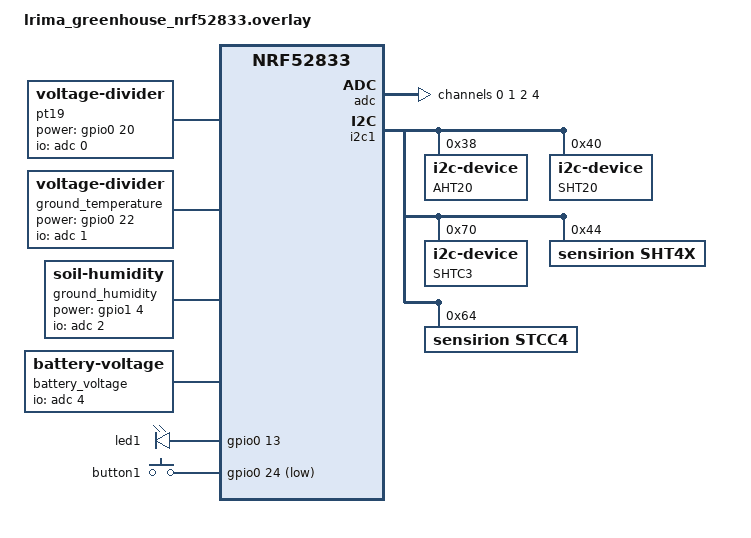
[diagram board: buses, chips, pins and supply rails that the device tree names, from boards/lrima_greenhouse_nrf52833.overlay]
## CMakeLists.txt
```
# SPDX-License-Identifier: Apache-2.0
# Nils Lahaye 2023

cmake_minimum_required(VERSION 3.20.0)

# Required files
list(APPEND BOARD_ROOT ${CMAKE_CURRENT_SOURCE_DIR})

find_package(Zephyr REQUIRED HINTS $ENV{ZEPHYR_BASE})
project(broadcaster)

# Add util source file
SET(UTILS_H
    src/utils.h
    src/payload.h
    src/utils/app_settings.h
    )
SET(UTILS_C
    src/utils.c
    src/payload.c
    src/utils/app_settings.c
    )

# Add drivers source files
SET(DRIVERS_H
    src/drivers/aht20.h
    src/drivers/sht20.h
    src/drivers/sht31.h
    src/drivers/sht4x.h
    src/drivers/stcc4.h
    src/drivers/adc.h
    src/drivers/ble.h
    src/drivers/button.h
    src/drivers/led.h
    )
SET(DRIVERS_C
    src/drivers/aht20.c
    src/drivers/sht20.c
    src/drivers/sht31.c
    src/drivers/sht4x.c
    src/drivers/stcc4.c
    src/drivers/adc.c
    src/drivers/ble.c
    src/drivers/button.c
    src/drivers/led.c
    )


# Add sources as target
target_sources(app PRIVATE ${UTILS_H} ${UTILS_C})
target_sources(app PRIVATE ${DRIVERS_H} ${DRIVERS_C})
target_sources(app PRIVATE src/main.c)
```

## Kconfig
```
################################################################################
# Zephyr OS

source "Kconfig.zephyr"

################################################################################

config SENSOR_SLEEP_DURATION_SEC
	int "Sleep duration in seconds between two measurements"
    default 60

config SENSOR_SLEEP_MODIFICATION_ENABLED
    bool "Enable sleep duration modification"
    default y

config SENSOR_SLEEP_DURATION_MAX_SEC
    depends on SENSOR_SLEEP_MODIFICATION_ENABLED=y
	int "Maximum sleep duration in seconds bettwen two measurements"
	default 3600


config BLE_ADV_USE_CODED_PHY
    bool "Use coded PHY for advertising"
    default n
    depends on BT_CTLR_PHY_CODED
    help
        Use coded PHY for advertising. This will increase the range of the
        advertising packets. However, it will not be seen by all devices. 
        Ex : The majority of smartphones do not support coded PHY.

config BLE_ADV_DURATION_SEC
	int "Advertising duration in seconds"
	default 1

config BLE_MIN_ADV_INTERVAL_MS
	int "Minimum advertising interval in milliseconds"
	default 30

config BLE_MAX_ADV_INTERVAL_MS
	int "Maximum advertising interval in milliseconds"
	default 40

config BLE_CONN_TIMEOUT_SEC
    int "Connection timeout in seconds"
    depends on SENSOR_SLEEP_MODIFICATION_ENABLED=y
    default 60
    help
        The connection timeout is the maximum time between two received packets
        before the connection is considered lost.

config BLE_USER_DEFINED_MAC_ADDR
	string "Overrides the device's BT address"
	help
		This address has to be in this format (e.g.: f0:ca:f0:ca:01:d5).

config BLE_GATEWAY_MAC_ADDR
    string "Gateway BT address accepted for downlink updates"
    default ""
    help
        When set, only downlink advertisements from this gateway MAC are accepted.
        Leave empty to accept downlink from any advertiser.

config BLE_USER_DEFINED_NAME
    string "Overrides the device's name"
    help
        This name has to be in this format (e.g.: "LRIMa 1").

config BLE_NODE_ID
	int "Static node identifier used in advertisements"
	default 1
	range 1 255
	help
		Unique 8-bit node identifier flashed into the device and advertised in every uplink packet.

################################################################################
# Main module

menu "Main module"

########################################
# MAIN Logging

choice MAIN_LOG_LEVEL_CHOICE
    prompt "Log level"
    depends on LOG
    default MAIN_LOG_LEVEL_INF
    help
        Message severity threshold for logging. This option controls which
        severities of messages are displayed and which ones are suppressed.
        Messages can have 4 severity levels - debug, info, warning, and error -
        in that order of increasing severity. Messages below the configured
        severity threshold are suppressed.

config MAIN_LOG_LEVEL_OFF
    bool "Off"
    help
        Do not log messages. No messages are displayed. Messages of all severity
        levels are suppressed.

config MAIN_LOG_LEVEL_ERR
    bool "Error"
    help
        Log up to error messages. Error messages are displayed. Warning, info,
        and debug messages are suppressed.

config MAIN_LOG_LEVEL_WRN
    bool "Warning"
    help
        Log up to warning messages. Error and warning messages are displayed.
        Info and debug messages are suppressed.

config MAIN_LOG_LEVEL_INF
    bool "Info"
    help
        Log up to info messages. Error, warning, and info messages are
        displayed. Debug messages are suppressed.

config MAIN_LOG_LEVEL_DBG
    bool "Debug"
    help
        Log up to debug messages. Messages of all severity levels are displayed.
        No messages are suppressed.

endchoice

config MAIN_LOG_LEVEL
    int
    depends on LOG
    default 0 if MAIN_LOG_LEVEL_OFF
    default 1 if MAIN_LOG_LEVEL_ERR
    default 2 if MAIN_LOG_LEVEL_WRN
    default 3 if MAIN_LOG_LEVEL_INF
    default 4 if MAIN_LOG_LEVEL_DBG

endmenu

################################################################################

# APP_SETTINGS module

menu "APP_SETTINGS module"

########################################
# APP_SETTINGS Logging

choice APP_SETTINGS_LOG_LEVEL_CHOICE
    prompt "Log level"
    depends on LOG
    default APP_SETTINGS_LOG_LEVEL_INF
    help
        Message severity threshold for logging.

config APP_SETTINGS_LOG_LEVEL_OFF
    bool "Off"

config APP_SETTINGS_LOG_LEVEL_ERR
    bool "Error"

config APP_SETTINGS_LOG_LEVEL_WRN
    bool "Warning"

config APP_SETTINGS_LOG_LEVEL_INF
    bool "Info"

config APP_SETTINGS_LOG_LEVEL_DBG
    bool "Debug"

endchoice

config APP_SETTINGS_LOG_LEVEL
    int
    depends on LOG
    default 0 if APP_SETTINGS_LOG_LEVEL_OFF
    default 1 if APP_SETTINGS_LOG_LEVEL_ERR
    default 2 if APP_SETTINGS_LOG_LEVEL_WRN
    default 3 if APP_SETTINGS_LOG_LEVEL_INF
    default 4 if APP_SETTINGS_LOG_LEVEL_DBG

endmenu

################################################################################

# SHT4X module

menu "SHT4X module"

########################################
# SHT4X Logging

choice SHT4X_LOG_LEVEL_CHOICE
    prompt "Log level"
    depends on LOG
    default SHT4X_LOG_LEVEL_INF
    help
        Message severity threshold for logging.

config SHT4X_LOG_LEVEL_OFF
    bool "Off"

config SHT4X_LOG_LEVEL_ERR
    bool "Error"

config SHT4X_LOG_LEVEL_WRN
    bool "Warning"

config SHT4X_LOG_LEVEL_INF
    bool "Info"

config SHT4X_LOG_LEVEL_DBG
    bool "Debug"

endchoice

config SHT4X_LOG_LEVEL
    int
    depends on LOG
    default 0 if SHT4X_LOG_LEVEL_OFF
    default 1 if SHT4X_LOG_LEVEL_ERR
    default 2 if SHT4X_LOG_LEVEL_WRN
    default 3 if SHT4X_LOG_LEVEL_INF
    default 4 if SHT4X_LOG_LEVEL_DBG

endmenu

################################################################################

# STCC4 module

menu "STCC4 module"

########################################
# STCC4 Logging

choice STCC4_LOG_LEVEL_CHOICE
    prompt "Log level"
    depends on LOG
    default STCC4_LOG_LEVEL_INF
    help
        Message severity threshold for logging.

config STCC4_LOG_LEVEL_OFF
    bool "Off"

config STCC4_LOG_LEVEL_ERR
    bool "Error"

config STCC4_LOG_LEVEL_WRN
    bool "Warning"

config STCC4_LOG_LEVEL_INF
    bool "Info"

config STCC4_LOG_LEVEL_DBG
    bool "Debug"

endchoice

config STCC4_LOG_LEVEL
    int
    depends on LOG
    default 0 if STCC4_LOG_LEVEL_OFF
    default 1 if STCC4_LOG_LEVEL_ERR
    default 2 if STCC4_LOG_LEVEL_WRN
    default 3 if STCC4_LOG_LEVEL_INF
    default 4 if STCC4_LOG_LEVEL_DBG

endmenu

################################################################################
# AHT20 module

menu "AHT20 module"

########################################
# AHT20 Logging

choice AHT20_LOG_LEVEL_CHOICE
    prompt "Log level"
    depends on LOG
    default AHT20_LOG_LEVEL_INF
    help
        Message severity threshold for logging. This option controls which
        severities of messages are displayed and which ones are suppressed.
        Messages can have 4 severity levels - debug, info, warning, and error -
        in that order of increasing severity. Messages below the configured
        severity threshold are suppressed.

config AHT20_LOG_LEVEL_OFF
    bool "Off"
    help
        Do not log messages. No messages are displayed. Messages of all severity
        levels are suppressed.

config AHT20_LOG_LEVEL_ERR
    bool "Error"
    help
        Log up to error messages. Error messages are displayed. Warning, info,
        and debug messages are suppressed.

config AHT20_LOG_LEVEL_WRN
    bool "Warning"
    help
        Log up to warning messages. Error and warning messages are displayed.
        Info and debug messages are suppressed.

config AHT20_LOG_LEVEL_INF
    bool "Info"
    help
        Log up to info messages. Error, warning, and info messages are
        displayed. Debug messages are suppressed.

config AHT20_LOG_LEVEL_DBG
    bool "Debug"
    help
        Log up to debug messages. Messages of all severity levels are displayed.
        No messages are suppressed.

endchoice

config AHT20_LOG_LEVEL
    int
    depends on LOG
    default 0 if AHT20_LOG_LEVEL_OFF
    default 1 if AHT20_LOG_LEVEL_ERR
    default 2 if AHT20_LOG_LEVEL_WRN
    default 3 if AHT20_LOG_LEVEL_INF
    default 4 if AHT20_LOG_LEVEL_DBG

endmenu

################################################################################
# ADC module

menu "ADC module"

########################################
# ADC Logging

choice ADC_LOG_LEVEL_CHOICE
    prompt "Log level"
    depends on LOG
    default ADC_LOG_LEVEL_INF
    help
        Message severity threshold for logging. This option controls which
        severities of messages are displayed and which ones are suppressed.
        Messages can have 4 severity levels - debug, info, warning, and error -
        in that order of increasing severity. Messages below the configured
        severity threshold are suppressed.

config ADC_LOG_LEVEL_OFF
    bool "Off"
    help
        Do not log messages. No messages are displayed. Messages of all severity
        levels are suppressed.

config ADC_LOG_LEVEL_ERR
    bool "Error"
    help
        Log up to error messages. Error messages are displayed. Warning, info,
        and debug messages are suppressed.

config ADC_LOG_LEVEL_WRN
    bool "Warning"
    help
        Log up to warning messages. Error and warning messages are displayed.
        Info and debug messages are suppressed.

config ADC_LOG_LEVEL_INF
    bool "Info"
    help
        Log up to info messages. Error, warning, and info messages are
        displayed. Debug messages are suppressed.

config ADC_LOG_LEVEL_DBG
    bool "Debug"
    help
        Log up to debug messages. Messages of all severity levels are displayed.
        No messages are suppressed.

endchoice

config ADC_LOG_LEVEL
    int
    depends on LOG
    default 0 if ADC_LOG_LEVEL_OFF
    default 1 if ADC_LOG_LEVEL_ERR
    default 2 if ADC_LOG_LEVEL_WRN
    default 3 if ADC_LOG_LEVEL_INF
    default 4 if ADC_LOG_LEVEL_DBG

endmenu

################################################################################
# BLE_DRIVER module

menu "BLE_DRIVER module"

########################################
# BLE_DRIVER Logging

choice BLE_DRIVER_LOG_LEVEL_CHOICE
    prompt "Log level"
    depends on LOG
    default BLE_DRIVER_LOG_LEVEL_INF
    help
        Message severity threshold for logging. This option controls which
        severities of messages are displayed and which ones are suppressed.
        Messages can have 4 severity levels - debug, info, warning, and error -
        in that order of increasing severity. Messages below the configured
        severity threshold are suppressed.

config BLE_DRIVER_LOG_LEVEL_OFF
    bool "Off"
    help
        Do not log messages. No messages are displayed. Messages of all severity
        levels are suppressed.

config BLE_DRIVER_LOG_LEVEL_ERR
    bool "Error"
    help
        Log up to error messages. Error messages are displayed. Warning, info,
        and debug messages are suppressed.

config BLE_DRIVER_LOG_LEVEL_WRN
    bool "Warning"
    help
        Log up to warning messages. Error and warning messages are displayed.
        Info and debug messages are suppressed.

config BLE_DRIVER_LOG_LEVEL_INF
    bool "Info"
    help
        Log up to info messages. Error, warning, and info messages are
        displayed. Debug messages are suppressed.

config BLE_DRIVER_LOG_LEVEL_DBG
    bool "Debug"
    help
        Log up to debug messages. Messages of all severity levels are displayed.
        No messages are suppressed.

endchoice

config BLE_DRIVER_LOG_LEVEL
    int
    depends on LOG
    default 0 if BLE_DRIVER_LOG_LEVEL_OFF
    default 1 if BLE_DRIVER_LOG_LEVEL_ERR
    default 2 if BLE_DRIVER_LOG_LEVEL_WRN
    default 3 if BLE_DRIVER_LOG_LEVEL_INF
    default 4 if BLE_DRIVER_LOG_LEVEL_DBG

endmenu

################################################################################
# Button module

menu "BUTTON module"

########################################
# BUTTON Logging

choice BUTTON_LOG_LEVEL_CHOICE
    prompt "Log level"
    depends on LOG
    default BUTTON_LOG_LEVEL_INF
    help
        Message severity threshold for logging. This option controls which
        severities of messages are displayed and which ones are suppressed.
        Messages can have 4 severity levels - debug, info, warning, and error -
        in that order of increasing severity. Messages below the configured
        severity threshold are suppressed.

config BUTTON_LOG_LEVEL_OFF
    bool "Off"
    help
        Do not log messages. No messages are displayed. Messages of all severity
        levels are suppressed.

config BUTTON_LOG_LEVEL_ERR
    bool "Error"
    help
        Log up to error messages. Error messages are displayed. Warning, info,
        and debug messages are suppressed.

config BUTTON_LOG_LEVEL_WRN
    bool "Warning"
    help
        Log up to warning messages. Error and warning messages are displayed.
        Info and debug messages are suppressed.

config BUTTON_LOG_LEVEL_INF
    bool "Info"
    help
        Log up to info messages. Error, warning, and info messages are
        displayed. Debug messages are suppressed.

config BUTTON_LOG_LEVEL_DBG
    bool "Debug"
    help
        Log up to debug messages. Messages of all severity levels are displayed.
        No messages are suppressed.

endchoice

config BUTTON_LOG_LEVEL
    int
    depends on LOG
    default 0 if BUTTON_LOG_LEVEL_OFF
    default 1 if BUTTON_LOG_LEVEL_ERR
    default 2 if BUTTON_LOG_LEVEL_WRN
    default 3 if BUTTON_LOG_LEVEL_INF
    default 4 if BUTTON_LOG_LEVEL_DBG

endmenu

################################################################################
# Led module

menu "LED module"

########################################
# LED Logging

choice LED_LOG_LEVEL_CHOICE
    prompt "Log level"
    depends on LOG
    default LED_LOG_LEVEL_INF
    help
        Message severity threshold for logging. This option controls which
        severities of messages are displayed and which ones are suppressed.
        Messages can have 4 severity levels - debug, info, warning, and error -
        in that order of increasing severity. Messages below the configured
        severity threshold are suppressed.

config LED_LOG_LEVEL_OFF
    bool "Off"
    help
        Do not log messages. No messages are displayed. Messages of all severity
        levels are suppressed.

config LED_LOG_LEVEL_ERR
    bool "Error"
    help
        Log up to error messages. Error messages are displayed. Warning, info,
        and debug messages are suppressed.

config LED_LOG_LEVEL_WRN
    bool "Warning"
    help
        Log up to warning messages. Error and warning messages are displayed.
        Info and debug messages are suppressed.

config LED_LOG_LEVEL_INF
    bool "Info"
    help
        Log up to info messages. Error, warning, and info messages are
        displayed. Debug messages are suppressed.

config LED_LOG_LEVEL_DBG
    bool "Debug"
    help
        Log up to debug messages. Messages of all severity levels are displayed.
        No messages are suppressed.

endchoice

config LED_LOG_LEVEL
    int
    depends on LOG
    default 0 if LED_LOG_LEVEL_OFF
    default 1 if LED_LOG_LEVEL_ERR
    default 2 if LED_LOG_LEVEL_WRN
    default 3 if LED_LOG_LEVEL_INF
    default 4 if LED_LOG_LEVEL_DBG

endmenu

################################################################################
# sht31 module

menu "SHT31 module"

########################################
# SHT31 Logging

choice SHT31_LOG_LEVEL_CHOICE
    prompt "Log level"
    depends on LOG
    default SHT31_LOG_LEVEL_INF
    help
        Message severity threshold for logging. This option controls which
        severities of messages are displayed and which ones are suppressed.
        Messages can have 4 severity levels - debug, info, warning, and error -
        in that order of increasing severity. Messages below the configured
        severity threshold are suppressed.

config SHT31_LOG_LEVEL_OFF
    bool "Off"
    help
        Do not log messages. No messages are displayed. Messages of all severity
        levels are suppressed.

config SHT31_LOG_LEVEL_ERR
    bool "Error"
    help
        Log up to error messages. Error messages are displayed. Warning, info,
        and debug messages are suppressed.

config SHT31_LOG_LEVEL_WRN
    bool "Warning"
    help
        Log up to warning messages. Error and warning messages are displayed.
        Info and debug messages are suppressed.

config SHT31_LOG_LEVEL_INF
    bool "Info"
    help
        Log up to info messages. Error, warning, and info messages are
        displayed. Debug messages are suppressed.

config SHT31_LOG_LEVEL_DBG
    bool "Debug"
    help
        Log up to debug messages. Messages of all severity levels are displayed.
        No messages are suppressed.

endchoice

config SHT31_LOG_LEVEL
    int
    depends on LOG
    default 0 if SHT31_LOG_LEVEL_OFF
    default 1 if SHT31_LOG_LEVEL_ERR
    default 2 if SHT31_LOG_LEVEL_WRN
    default 3 if SHT31_LOG_LEVEL_INF
    default 4 if SHT31_LOG_LEVEL_DBG

endmenu

################################################################################
# sht20 module

menu "SHT20 module"

########################################
# SHT20 Logging

choice SHT20_LOG_LEVEL_CHOICE
    prompt "Log level"
    depends on LOG
    default SHT20_LOG_LEVEL_INF
    help
        Message severity threshold for logging. This option controls which
        severities of messages are displayed and which ones are suppressed.
        Messages can have 4 severity levels - debug, info, warning, and error -
        in that order of increasing severity. Messages below the configured
        severity threshold are suppressed.

config SHT20_LOG_LEVEL_OFF
    bool "Off"
    help
        Do not log messages. No messages are displayed. Messages of all severity
        levels are suppressed.

config SHT20_LOG_LEVEL_ERR
    bool "Error"
    help
        Log up to error messages. Error messages are displayed. Warning, info,
        and debug messages are suppressed.

config SHT20_LOG_LEVEL_WRN
    bool "Warning"
    help
        Log up to warning messages. Error and warning messages are displayed.
        Info and debug messages are suppressed.

config SHT20_LOG_LEVEL_INF
    bool "Info"
    help
        Log up to info messages. Error, warning, and info messages are
        displayed. Debug messages are suppressed.

config SHT20_LOG_LEVEL_DBG
    bool "Debug"
    help
        Log up to debug messages. Messages of all severity levels are displayed.
        No messages are suppressed.

endchoice

config SHT20_LOG_LEVEL
    int
    depends on LOG
    default 0 if SHT20_LOG_LEVEL_OFF
    default 1 if SHT20_LOG_LEVEL_ERR
    default 2 if SHT20_LOG_LEVEL_WRN
    default 3 if SHT20_LOG_LEVEL_INF
    default 4 if SHT20_LOG_LEVEL_DBG

endmenu

################################################################################
```

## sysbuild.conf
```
#==============================================================================
# Sysbuild Configuration
#==============================================================================
# Application-level sysbuild settings go here.
#
# MCUboot board-specific configuration is stored in:
#   sysbuild/mcuboot/boards/<board>/mcuboot.conf
#
# This separation prevents configuration bleed between the MCUboot
# bootloader image and the application image.

# Currently, all sysbuild defaults are provided by the nRF SDK.
# Add overrides below if sysbuild-level (multi-image) configuration is needed.
```

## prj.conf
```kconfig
#==============================================================================
# Build & Development Configuration
#==============================================================================
CONFIG_WARN_EXPERIMENTAL=y

#==============================================================================
# Basic Subsystem Configuration
#==============================================================================
CONFIG_PINCTRL=y
CONFIG_GPIO=y
CONFIG_ADC=y
CONFIG_ADC_ASYNC=y
CONFIG_I2C=y
CONFIG_SENSOR=y
CONFIG_FLASH=y
CONFIG_FLASH_MAP=y
CONFIG_NVS=y
CONFIG_SETTINGS=y
CONFIG_SETTINGS_NVS=y

#==============================================================================
# Custom Configurations
#==============================================================================
# These settings are user-defined and can be adjusted for each device.

# Sensor and BLE Advertising Settings
CONFIG_SENSOR_SLEEP_DURATION_SEC=60
CONFIG_BLE_ADV_USE_CODED_PHY=n
CONFIG_BLE_ADV_DURATION_SEC=5
CONFIG_BLE_MIN_ADV_INTERVAL_MS=30
CONFIG_BLE_MAX_ADV_INTERVAL_MS=40
CONFIG_BLE_USER_DEFINED_NAME="LRIMa"
# Change this for each device
CONFIG_BLE_USER_DEFINED_MAC_ADDR="f0:ca:f0:ca:01:34"
# Change this for each device
CONFIG_BLE_NODE_ID=34

# Sensor Sleep Modification
CONFIG_SENSOR_SLEEP_MODIFICATION_ENABLED=y

#==============================================================================
# Logging Configuration
#==============================================================================
CONFIG_LOG=n
CONFIG_CONSOLE=n
CONFIG_USE_SEGGER_RTT=n
CONFIG_RTT_CONSOLE=n

# Default log level for all modules.
CONFIG_LOG_DEFAULT_LEVEL=1
CONFIG_DEBUG_OPTIMIZATIONS=y
CONFIG_BT_LOG_LEVEL_OFF=y

# Logging Backends
CONFIG_MAIN_LOG_LEVEL_INF=y
CONFIG_AHT20_LOG_LEVEL_WRN=n
CONFIG_SHT20_LOG_LEVEL_WRN=n
CONFIG_SHT31_LOG_LEVEL_WRN=n
CONFIG_SHT4X_LOG_LEVEL_WRN=n
CONFIG_STCC4_LOG_LEVEL_DBG=y
CONFIG_ADC_LOG_LEVEL_DBG=n
CONFIG_BLE_DRIVER_LOG_LEVEL_DBG=n
CONFIG_APP_SETTINGS_LOG_LEVEL_DBG=n
CONFIG_BUTTON_LOG_LEVEL_DBG=n
CONFIG_LED_LOG_LEVEL_WRN=n

# Support for log
CONFIG_PICOLIBC=y
CONFIG_CBPRINTF_FP_SUPPORT=y

#==============================================================================
# Bluetooth Configuration
#==============================================================================
CONFIG_BT=y
CONFIG_BT_CTLR_PHY_CODED=n
CONFIG_BT_BROADCASTER=y
CONFIG_BT_OBSERVER=y
CONFIG_BT_GATT_CLIENT=n
CONFIG_BT_GATT_DM=n
CONFIG_BT_GATT_DYNAMIC_DB=n
CONFIG_BT_DEVICE_NAME_DYNAMIC=y

#==============================================================================
# Size Optimization and Multithreading
#==============================================================================
CONFIG_SIZE_OPTIMIZATIONS=y
CONFIG_MULTITHREADING=y
CONFIG_REBOOT=y

#==============================================================================
```

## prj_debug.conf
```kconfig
#==============================================================================
# Debug Configuration for Broadcaster
#==============================================================================
# This configuration enables comprehensive logging, RTT output, and debug symbols
# for ease of development and hardware bring-up.
#
# Build: west build -b lrima_greenhouse_nrf52833 -- -DCONF_FILE="prj_debug.conf"

# Enable logging at DEBUG level
CONFIG_LOG=y
CONFIG_LOG_DEFAULT_LEVEL=1
CONFIG_LOG_PRINTK=y

# Enable console and Segger RTT output (no UART needed)
CONFIG_CONSOLE=y
CONFIG_USE_SEGGER_RTT=y
CONFIG_RTT_CONSOLE=y

# Enable runtime checks and debug-oriented settings
CONFIG_ASSERT=y

# Per-module debug logging
CONFIG_MAIN_LOG_LEVEL_DBG=y
CONFIG_BUTTON_LOG_LEVEL_DBG=n
CONFIG_BLE_DRIVER_LOG_LEVEL_DBG=y
CONFIG_APP_SETTINGS_LOG_LEVEL_DBG=y
CONFIG_AHT20_LOG_LEVEL_DBG=n
CONFIG_SHT20_LOG_LEVEL_DBG=n
CONFIG_SHT31_LOG_LEVEL_DBG=n
CONFIG_SHT4X_LOG_LEVEL_DBG=n
CONFIG_STCC4_LOG_LEVEL_DBG=n
CONFIG_ADC_LOG_LEVEL_DBG=n
CONFIG_LED_LOG_LEVEL_DBG=n

# Bluetooth stack debug logging
CONFIG_BT_LOG_LEVEL_INF=n

# Support for floating point in log output
CONFIG_PICOLIBC=y
CONFIG_CBPRINTF_FP_SUPPORT=y

# Minimal size optimization (prioritize debug info)
CONFIG_SIZE_OPTIMIZATIONS=n
CONFIG_DEBUG_OPTIMIZATIONS=n
```

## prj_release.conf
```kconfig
#==============================================================================
# Release Configuration for Broadcaster
#==============================================================================
# This configuration disables logging and RTT, optimizes for size and power,
# and removes debug symbols for production deployment.
#
# Build: west build -b lrima_greenhouse_nrf52833 -- -DCONF_FILE="prj_release.conf"

# Disable logging
CONFIG_LOG=n
CONFIG_CONSOLE=n
CONFIG_LOG_DEFAULT_LEVEL=1  # ERROR  (minimal overhead)
CONFIG_LOG_PRINTK=n

# Disable RTT to save memory and reduce power consumption
CONFIG_USE_SEGGER_RTT=n
CONFIG_RTT_CONSOLE=n

# Disable debug symbols to reduce binary size
CONFIG_DEBUG_INFO=n
CONFIG_ASSERT=n

# Disable per-module debug logging
CONFIG_MAIN_LOG_LEVEL_INF=n
CONFIG_BUTTON_LOG_LEVEL_DBG=n
CONFIG_BLE_DRIVER_LOG_LEVEL_DBG=n
CONFIG_APP_SETTINGS_LOG_LEVEL_DBG=n
CONFIG_AHT20_LOG_LEVEL_WRN=n
CONFIG_SHT20_LOG_LEVEL_WRN=n
CONFIG_SHT31_LOG_LEVEL_WRN=n
CONFIG_SHT4X_LOG_LEVEL_WRN=n
CONFIG_STCC4_LOG_LEVEL_DBG=n
CONFIG_ADC_LOG_LEVEL_DBG=n
CONFIG_LED_LOG_LEVEL_WRN=n

# Disable Bluetooth stack logging
CONFIG_BT_LOG_LEVEL_OFF=y

# Lightweight C library (no float support in logging, not needed here)
CONFIG_PICOLIBC=y
CONFIG_CBPRINTF_FP_SUPPORT=n

# Aggressive size optimization for deployment
CONFIG_SIZE_OPTIMIZATIONS=y
CONFIG_DEBUG_OPTIMIZATIONS=y
```

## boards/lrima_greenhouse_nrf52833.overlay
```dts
/* Mapping adc pins */
/ {

    pt19: pt19 {
        compatible = "voltage-divider";
        io-channels = <&adc 0>;
        output-ohms = <10000>;
        power-gpios = <&gpio0 20 GPIO_ACTIVE_HIGH>;
    };

    ground_temperature: ground_temperature {
        compatible = "voltage-divider";
        io-channels = <&adc 1>;
        output-ohms = <10000>;
        power-gpios = <&gpio0 22 GPIO_ACTIVE_HIGH>;
    };

    ground_humidity: ground_humidity {
        compatible = "soil-humidity";
        io-channels = <&adc 2>;
        power-gpios = <&gpio1 4 GPIO_ACTIVE_HIGH>;
        //       (a)x^2 + (b)x + (c)
        dry = <(-124) 957 (-90)>;
        //       (a)x^2 + (b)x + (c)
        wet = <(-83) 721 (-481)>;
    };

    battery_voltage: battery_voltage {
        compatible = "battery-voltage";
        io-channels = <&adc 4>;
    };

    /* Used for the real board */
    leds{
        compatible = "gpio-leds";
        led1: led1 {
            label = "led1";
            gpios = <&gpio0 13 GPIO_ACTIVE_HIGH>;
        };
    };

    buttons {
        compatible = "gpio-keys";
        button1: button1 {
            label = "button1";
            gpios = <&gpio0 24 (GPIO_PULL_UP | GPIO_ACTIVE_LOW)>;
        };

        wakeup-source;
    };

    aliases {
        button1 = &button1;
        led1 = &led1;
    };
};

/* Enable adc driver */
&adc {
    status = "okay";
    #address-cells = <1>;
    #size-cells = <0>;
    // Luminoisty sensor
    channel@0 {
        reg = <0>;
        zephyr,gain = "ADC_GAIN_1_4";
        zephyr,reference = "ADC_REF_INTERNAL";
        zephyr,acquisition-time = <ADC_ACQ_TIME_DEFAULT>;
        zephyr,input-positive = <NRF_SAADC_AIN0>; // P0.02
        zephyr,resolution = <10>;
        zephyr,oversampling = <4>;
    };

    // Ground temperature sensor
    channel@1 {
        reg = <1>;
        zephyr,gain = "ADC_GAIN_1_5";
        zephyr,reference = "ADC_REF_INTERNAL";
        zephyr,acquisition-time = <ADC_ACQ_TIME_DEFAULT>;
        zephyr,input-positive = <NRF_SAADC_AIN1>; // P0.03
        zephyr,resolution = <10>;
        zephyr,oversampling = <4>;
    };

    // Ground humidity sensor
    channel@2 {
        reg = <2>;
        zephyr,gain = "ADC_GAIN_1_6";
        zephyr,reference = "ADC_REF_VDD_1_4";
        zephyr,acquisition-time = <ADC_ACQ_TIME_DEFAULT>;
        zephyr,input-positive = <NRF_SAADC_AIN2>; // P0.04
        zephyr,resolution = <12>;
        zephyr,oversampling = <4>;
    };

    // Batterie voltage monitor
    channel@4 {
        reg = <4>;
        zephyr,gain = "ADC_GAIN_1_6";
        zephyr,reference = "ADC_REF_INTERNAL";
        zephyr,acquisition-time = <ADC_ACQ_TIME_DEFAULT>;
        zephyr,input-positive = <NRF_SAADC_VDD>; // VDD
        zephyr,resolution = <10>;
        zephyr,oversampling = <0>;
    };
};

/* Enable i2c driver */
&i2c1 {
    status = "okay";

    aht20: aht20@38 {
        compatible = "i2c-device";
        reg = <0x38>;
        label = "AHT20";
    };

    sht20: sht20@40 {
        compatible = "i2c-device";
        reg = <0x40>;
        label = "SHT20";
    };

    shtc3: shtc3@70 {
        compatible = "i2c-device";
        reg = <0x70>;
        label = "SHTC3";
    };

    sht4x: sht4x@44 {
        compatible = "sensirion,sht4x";
        reg = <0x44>;
        repeatability = <2>;
        label = "SHT4X";
    };

    stcc4: stcc4@64 {
        compatible = "sensirion,stcc4";
        reg = <0x64>;
        measurement-mode = <1>;
        label = "STCC4";
    };
};
```

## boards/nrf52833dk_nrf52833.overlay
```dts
/* Mapping adc pins */
/ {

    pt19: pt19 {
        compatible = "voltage-divider";
        io-channels = <&adc 0>;
        output-ohms = <10000>;
        power-gpios = <&gpio0 20 GPIO_ACTIVE_HIGH>;
    };

    ground_temperature: ground_temperature {
        compatible = "voltage-divider";
        io-channels = <&adc 1>;
        output-ohms = <10000>;
        power-gpios = <&gpio0 22 GPIO_ACTIVE_HIGH>;
    };

    ground_humidity: ground_humidity {
        compatible = "soil-humidity";
        io-channels = <&adc 2>;
        power-gpios = <&gpio1 4 GPIO_ACTIVE_HIGH>;
        dry = <800 0 0>;
        wet = <2270 0 0>;
    };

    battery_voltage: battery_voltage {
        compatible = "battery-voltage";
        io-channels = <&adc 4>;
    };

    /* Used for the real board */
    // leds{
        //     compatible = "gpio-leds";
        //     led1: led1 {
            //         label = "led1";
            //         gpios = <&gpio0 13 GPIO_ACTIVE_HIGH>;
        //     };
    // };

    // buttons {
        //     compatible = "gpio-keys";
        //     button1: button1 {
            //         label = "button1";
            //         gpios = <&gpio0 24 GPIO_ACTIVE_LOW>;
        //     };
    // };

    // aliases {
        //     button1 = &button1;
        //     led1 = &led1;
    // };
};

/* Enable adc driver */
&adc {
    status = "okay";
    #address-cells = <1>;
    #size-cells = <0>;
    // Luminoisty sensor
    channel@0 {
        reg = <0>;
        zephyr,gain = "ADC_GAIN_1_4";
        zephyr,reference = "ADC_REF_INTERNAL";
        zephyr,acquisition-time = <ADC_ACQ_TIME_DEFAULT>;
        zephyr,input-positive = <NRF_SAADC_AIN0>; // P0.02
        zephyr,resolution = <10>;
        zephyr,oversampling = <4>;
    };

    // Ground temperature sensor
    channel@1 {
        reg = <1>;
        zephyr,gain = "ADC_GAIN_1_5";
        zephyr,reference = "ADC_REF_INTERNAL";
        zephyr,acquisition-time = <ADC_ACQ_TIME_DEFAULT>;
        zephyr,input-positive = <NRF_SAADC_AIN1>; // P0.03
        zephyr,resolution = <10>;
        zephyr,oversampling = <4>;
    };

    // Ground humidity sensor
    channel@2 {
        reg = <2>;
        zephyr,gain = "ADC_GAIN_1_2";
        zephyr,reference = "ADC_REF_INTERNAL";
        zephyr,acquisition-time = <ADC_ACQ_TIME_DEFAULT>;
        zephyr,input-positive = <NRF_SAADC_AIN2>; // P0.04
        zephyr,resolution = <12>;
        zephyr,oversampling = <4>;
    };

    // Batterie voltage monitor
    channel@4 {
        reg = <4>;
        zephyr,gain = "ADC_GAIN_1_6";
        zephyr,reference = "ADC_REF_INTERNAL";
        zephyr,acquisition-time = <ADC_ACQ_TIME_DEFAULT>;
        zephyr,input-positive = <NRF_SAADC_VDD>; // VDD
        zephyr,resolution = <10>;
        zephyr,oversampling = <0>;
    };
};

/* Enable i2c driver */
&i2c1 {
    status = "okay";

    aht20: aht20@38 {
        compatible = "i2c-device";
        reg = <0x38>;
        label = "AHT20";
    };

    sht4x: sht4x@44 {
        compatible = "sensirion,sht4x";
        reg = <0x44>;
        repeatability = <2>;
        label = "SHT4X";
    };

    stcc4: stcc4@64 {
        compatible = "sensirion,stcc4";
        reg = <0x64>;
        measurement-mode = <0>;
        label = "STCC4";
    };
};

/* Deactivating some stuff */

&spi1 {
    status = "disabled";
};

&spi3 {
    status = "disabled";
};
```

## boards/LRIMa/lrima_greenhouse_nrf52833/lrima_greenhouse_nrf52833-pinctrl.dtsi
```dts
&pinctrl {
    uart0_default: uart0_default {
        group1 {
            psels = <NRF_PSEL(UART_TX, 0, 25)>,
                    <NRF_PSEL(UART_RX, 0, 23)>;
        };
    };

    uart0_sleep: uart0_sleep {
        group1 {
            psels = <NRF_PSEL(UART_TX, 0, 25)>,
                    <NRF_PSEL(UART_RX, 0, 23)>;
        };
    };

    /* Configure pwm0 instance to use pin 5. */
    pwm0_default: pwm0_default {
        group1 {
            psels = <NRF_PSEL(PWM_OUT0, 0, 5)>;
        };
    };

    pwm0_sleep: pwm0_sleep {
        group1 {
            psels = <NRF_PSEL(PWM_OUT0, 0, 5)>;
        };
    };

    /* Configure i2c0 instance to use pins 24 (SDA) & 13 (SCL). */
    i2c0_default: i2c0_default {
        group1 {
            psels = <NRF_PSEL(TWIM_SDA, 0, 24)>,
                    <NRF_PSEL(TWIM_SCL, 0, 13)>;
        };
    };

    i2c0_sleep: i2c0_sleep {
        group1 {
            psels = <NRF_PSEL(TWIM_SDA, 0, 24)>,
                    <NRF_PSEL(TWIM_SCL, 0, 13)>;
        };
    };

    i2c1_default: i2c1_default {
        group1 {
            psels = <NRF_PSEL(TWIM_SDA, 0, 30)>,
                    <NRF_PSEL(TWIM_SCL, 0, 31)>;
        };
    };

    i2c1_sleep: i2c1_sleep {
        group1 {
            psels = <NRF_PSEL(TWIM_SDA, 0, 30)>,
                    <NRF_PSEL(TWIM_SCL, 0, 31)>;
        };
    };
};
```

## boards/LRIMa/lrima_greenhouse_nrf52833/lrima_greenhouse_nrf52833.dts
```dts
/dts-v1/;
#include <nordic/nrf52833_qiaa.dtsi>
#include "lrima_greenhouse_nrf52833-pinctrl.dtsi"

/ {
	model = "LRIMa_greenhouse_nrf52833";
	compatible = "lrima,lrima-greenhouse-nrf52833";

	chosen {
		zephyr,sram = &sram0;
		zephyr,flash = &flash0;
		zephyr,code-partition = &slot0_partition;
		zephyr,console = &uart0;
		zephyr,shell-uart = &uart0;
	};
};

&flash0 {
	partitions {
		compatible = "fixed-partitions";
		#address-cells = <1>;
		#size-cells = <1>;

		boot_partition: partition@0 {
			label = "mcuboot";
			reg = <0x00000000 DT_SIZE_K(48)>;
		};

		slot0_partition: partition@c000 {
			label = "image-0";
			reg = <0x0000c000 DT_SIZE_K(220)>;
		};

		slot1_partition: partition@43000 {
			label = "image-1";
			reg = <0x00043000 DT_SIZE_K(220)>;
		};

		storage_partition: partition@7a000 {
			label = "storage";
			reg = <0x0007a000 DT_SIZE_K(24)>;
		};
	};
};

&uart0 {
	compatible = "nordic,nrf-uarte";
	status = "okay";
	current-speed = <115200>;
	pinctrl-0 = <&uart0_default>;
	pinctrl-1 = <&uart0_sleep>;
	pinctrl-names = "default", "sleep";
};

&adc {
	status = "okay";
};

&i2c1 {
	compatible = "nordic,nrf-twim";
	/* Cannot be used together with spi1. */
	pinctrl-0 = <&i2c1_default>;
	pinctrl-1 = <&i2c1_sleep>;
	pinctrl-names = "default", "sleep";
	status = "okay";
};

&gpio0 {
	status = "okay";
	// For low-power EDGE interrupts.
	// See github.com/zephyrproject-rtos/zephyr/issues/28499.
	sense-edge-mask = <0xffffffff>;
};

&gpio1 {
	status = "okay";
};

&i2c0 { // LED1 is on P0.13 and i2c0 uses P0.13/P0.24, so disable i2c0 to avoid conflicts.
    status = "disabled";
};

&pwm0 {
	status = "okay";
	pinctrl-0 = <&pwm0_default>;
	pinctrl-1 = <&pwm0_sleep>;
	pinctrl-names = "default", "sleep";
};

&gpiote {
	status = "okay";
};

&uicr {
	gpio-as-nreset;
};
```

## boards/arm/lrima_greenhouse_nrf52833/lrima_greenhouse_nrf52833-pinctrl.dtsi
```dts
&pinctrl {
	uart0_default: uart0_default {
		group1 {
			psels = <NRF_PSEL(UART_TX, 0, 25)>,
							<NRF_PSEL(UART_RX, 0, 23)>;
		};
	};

	uart0_sleep: uart0_sleep {
		group1 {
			psels = <NRF_PSEL(UART_TX, 0, 25)>,
							<NRF_PSEL(UART_RX, 0, 23)>;
		};
	};

	/* Configure pwm0 instance to use pin 5. */
	pwm0_default: pwm0_default {
		group1 {
			psels = <NRF_PSEL(PWM_OUT0, 0, 5)>;
		};
	};

	pwm0_sleep: pwm0_sleep {
		group1 {
			psels = <NRF_PSEL(PWM_OUT0, 0, 5)>;
		};
	};

	/* Configure i2c0 instance to use pins 24 (SDA) & 13 (SCL). */
	i2c0_default: i2c0_default {
		group1 {
			psels = <NRF_PSEL(TWIM_SDA, 0, 24)>,
							<NRF_PSEL(TWIM_SCL, 0, 13)>;
		};
	};

	i2c0_sleep: i2c0_sleep {
		group1 {
			psels = <NRF_PSEL(TWIM_SDA, 0, 24)>,
							<NRF_PSEL(TWIM_SCL, 0, 13)>;
		};
	};
    
	i2c1_default: i2c1_default {
		group1 {
			psels = <NRF_PSEL(TWIM_SDA, 0, 30)>,
				<NRF_PSEL(TWIM_SCL, 0, 31)>;
		};
	};

	i2c1_sleep: i2c1_sleep {
		group1 {
			psels = <NRF_PSEL(TWIM_SDA, 0, 30)>,
				<NRF_PSEL(TWIM_SCL, 0, 31)>;
		};
	};
};
```

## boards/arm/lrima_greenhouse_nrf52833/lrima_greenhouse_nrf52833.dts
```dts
// Copyright (c) 2023 Nordic Semiconductor ASA
// SPDX-License-Identifier: Apache-2.0

/dts-v1/;
#include <nordic/nrf52833_qiaa.dtsi>
#include "lrima_greenhouse_nrf52833-pinctrl.dtsi"

/ {
	model = "LRIMa_greenhouse_nrf52833";
	compatible = "lrima,lrima-greenhouse-nrf52833";

	chosen {
		zephyr,sram = &sram0;
		zephyr,flash = &flash0;
		zephyr,code-partition = &slot0_partition;
		zephyr,console = &uart0;
		zephyr,shell-uart = &uart0;
	};
};

&flash0 {
	partitions {
		compatible = "fixed-partitions";
		#address-cells = <1>;
		#size-cells = <1>;

		boot_partition: partition@0 {
			label = "mcuboot";
			reg = <0x0 0xc000>;
		};
		slot0_partition: partition@c000 {
			label = "image-0";
			reg = <0xc000 0x32000>;
		};
		slot1_partition: partition@3e000 {
			label = "image-1";
			reg = <0x3e000 0x32000>;
		};
		scratch_partition: partition@70000 {
			label = "image-scratch";
			reg = <0x70000 0xa000>;
		};
		storage_partition: partition@7a000 {
			label = "storage";
			reg = <0x7a000 0x6000>;
		};
	};
};

&uart0 {
	compatible = "nordic,nrf-uarte";
	status = "okay";
	current-speed = <115200>;
	pinctrl-0 = <&uart0_default>;
	pinctrl-1 = <&uart0_sleep>;
	pinctrl-names = "default", "sleep";
};

&adc {
	status = "okay";
};

&i2c1 {
	compatible = "nordic,nrf-twi";
	/* Cannot be used together with spi1. */
	pinctrl-0 = <&i2c1_default>;
	pinctrl-1 = <&i2c1_sleep>;
	pinctrl-names = "default", "sleep";
	status = "okay";
};

&gpio0 {
	status = "okay";
	// For low-power EDGE interrupts.
	// See github.com/zephyrproject-rtos/zephyr/issues/28499.
	sense-edge-mask = <0xffffffff>;
};

&gpio1 {
    status = "okay";
};

&uart0 {
	compatible = "nordic,nrf-uart";
	status = "disabled";
	current-speed = <115200>;
	pinctrl-0 = <&uart0_default>;
	pinctrl-1 = <&uart0_sleep>;
	pinctrl-names = "default", "sleep";
};

&i2c0 {
	compatible = "nordic,nrf-twi";
	status = "okay";
	pinctrl-0 = <&i2c0_default>;
	pinctrl-1 = <&i2c0_sleep>;
	pinctrl-names = "default", "sleep";

	shtc3: shtc3@70 {
		compatible = "i2c-device";
		reg = <0x70>;
		label = "SHTC3";
	};
};

&pwm0 {
	status = "okay";
	pinctrl-0 = <&pwm0_default>;
	pinctrl-1 = <&pwm0_sleep>;
	pinctrl-names = "default", "sleep";
};
```

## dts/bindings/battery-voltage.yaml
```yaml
description: >
  Used to read the battery voltage. Using the VDD

compatible: battery-voltage

include: base.yaml

properties:
  io-channels:
    required: true
    description: Channels of the adc used for reading (the pin is not actualy used)
```

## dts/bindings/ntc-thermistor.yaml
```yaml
description: >
  NTC Thermistor sensor definition.
  Taking the adc pin, power pin, Resistor value at 25C and the B value of the thermistor

compatible: ntc-themistor

include: base.yaml

properties:
  io-channels:
    required: true
    description: Channels of the adc pin of the sensor
  power-gpios:
    type: phandle-array
    description: |
      Control power to the sensor inputs.
  resistor-value:
    type: int
    required: true
    description: Resistor value at 25C in ohms
  beta:
    type: int
    required: true
    description: B value of the thermistor
```

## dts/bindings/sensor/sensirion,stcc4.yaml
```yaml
# SPDX-License-Identifier: Apache-2.0

description: |
  Sensirion STCC4 miniature CO2 sensor based on thermal conductivity.
  Provides CO2, temperature, and humidity readings via I2C.

compatible: "sensirion,stcc4"

include: [sensor-device.yaml, i2c-device.yaml]

properties:
  measurement-mode:
    type: int
    required: true
    description: |
      Measurement mode.
      Continuous mode measures at ~1 Hz.
      Single-shot mode measures on demand with a 500ms conversion time per fetch.
    enum:
      - 0
      - 1
```

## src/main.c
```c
/**
 *  main.c - Application main entry point
 * 
 * This file contains the main code for the application
 * 
 * Author: Nils Lahaye (2024)
 */

#include <zephyr/kernel.h>
#include <zephyr/logging/log.h>
#include <zephyr/sys/reboot.h>
#include "drivers/adc.h"
#include "drivers/aht20.h"
#include "drivers/sht20.h"
#include "drivers/sht31.h"
#include "drivers/sht4x.h"
#include "drivers/stcc4.h"
#include "drivers/ble.h"
#include "drivers/led.h"
#include "drivers/button.h"
#include "payload.h"
#include "utils.h"
#include "utils/app_settings.h"

#define WEEK_IN_MILLISECONDS (7 * 24 * 60 * 60 * 1000)
#define INIT_REBOOT_DELAY_SECONDS 5

LOG_MODULE_REGISTER(MAIN, CONFIG_MAIN_LOG_LEVEL);

/* Struct to store all of the sensors data*/
sensors_data_t sensors_data = {
	.temp = 0,
	.hum = 0,
	.co2 = 0,
	.lum = 0,
	.gnd_temp = 0,
	.gnd_hum = 0,
	.bat = 0
};

/* Is it the first run */
bool first_run = true;

/* Sleep time bettwen iterations*/
static uint16_t sleep_time = CONFIG_SENSOR_SLEEP_DURATION_SEC;
static uint64_t initial_timestamp = 0;

#define INIT_OR_REBOOT(_init_call, _name)                  \
	do {                                                     \
		int _err = (_init_call);                              \
		if (_err) {                                            \
			init_fail_and_reboot((_name), _err);                \
		}                                                      \
	} while (0)

//Pointer to the current i2c temperature and humidity sensor
static int (*ptr_temp_hum_read)(float *, float *);
// Pointer to optional co2 sensor read function
static int (*ptr_co2_read)(float *);
// Pointer to combined temperature, humidity and co2 sensor read function
static int (*ptr_temp_hum_co2_read)(float *, float *, float *);

static void init_fail_and_reboot(const char *name, int err) {
	LOG_ERR("Unable to initialize %s (err: %d)", name, err);
	(void)led_blink_stop();
	(void)led1_on();
	k_sleep(K_SECONDS(INIT_REBOOT_DELAY_SECONDS));
	sys_reboot(SYS_REBOOT_COLD);
}

static void check_and_reboot_if_week_elapsed(void) {
    uint64_t current_timestamp = k_uptime_get();
    uint64_t elapsed_time = current_timestamp - initial_timestamp;

    if (elapsed_time >= WEEK_IN_MILLISECONDS) {
        LOG_INF("A week has passed! Triggering reboot...");
        sys_reboot(SYS_REBOOT_COLD);
    }
}

/**
 * @brief Read all of the sensors data and store it in the sensors_data variable
 */
static void read(void) {
	LOG_INF("Reading sensors data");

	// Read the temperature, humidity and co2 together when the sensor supports it
	if (ptr_temp_hum_co2_read != NULL) {
		LOG_IF_ERR(ptr_temp_hum_co2_read(&sensors_data.temp, &sensors_data.hum, &sensors_data.co2),
			   "Unable to read temperature, humidity and co2");
	} else {
		// Read the temperature and humidity
		if (ptr_temp_hum_read != NULL) {
			LOG_IF_ERR(ptr_temp_hum_read(&sensors_data.temp, &sensors_data.hum), "Unable to read temperature and humidity");
		} else {
			LOG_WRN("No temperature and humidity sensor found");
		}
		if (ptr_co2_read != NULL) {
			LOG_IF_ERR(ptr_co2_read(&sensors_data.co2), "Unable to read co2");
		} else {
			sensors_data.co2 = 0;
		}
	}

	// Read the luminosity
	LOG_IF_ERR(luminosity_read(&sensors_data.lum), "Unable to read luminosity");
	// Read the ground temperature
	LOG_IF_ERR(ground_temperature_read(&sensors_data.gnd_temp), "Unable to read ground temperature");
	// Read the ground humidity
	LOG_IF_ERR(ground_humidity_read(&sensors_data.gnd_hum), "Unable to read ground humidity");
	// Read the battery level
	LOG_IF_ERR(battery_voltage_read(&sensors_data.bat), "Unable to read battery level");

	LOG_INF("All sensors data read");
}

/**
 * @brief Send the sensors data to the gateway (Bluetooth)
 */
static void send(void) {
	uint8_t present_mask = PAYLOAD_PRESENT_LUM | PAYLOAD_PRESENT_GND_TEMP |
			      PAYLOAD_PRESENT_GND_HUM | PAYLOAD_PRESENT_BAT;

	LOG_INF("Sending sensors data");

	if (ptr_temp_hum_read != NULL || ptr_temp_hum_co2_read != NULL) {
		present_mask |= PAYLOAD_PRESENT_TEMP | PAYLOAD_PRESENT_HUM;
	}

	if (ptr_co2_read != NULL || ptr_temp_hum_co2_read != NULL) {
		present_mask |= PAYLOAD_PRESENT_CO2;
	}

	// Encode the data into the service data of the ble driver
	LOG_IF_ERR(ble_encode_adv_data(&sensors_data, present_mask, (uint32_t)sleep_time),
		   "Unable to encode data");

	// Advertise the data
	LOG_IF_ERR(ble_adv(), "Unable to advertise data");

	LOG_INF("Sensors data sent");
}

/**
 * @brief Initialize the temperature and humidity sensor
 * 
 * @return 0 on success, error code otherwise
 */
static int init_temp_hum_sensor(void) {
	LOG_INF("Initializing temperature and humidity sensor");

	// Sleeping for 1000ms to wait for the sensor to wake up
	k_sleep(K_MSEC(1000));

	ptr_temp_hum_co2_read = NULL;
	ptr_co2_read = NULL;

	// Try to initialize the STCC4 sensor
	if(!stcc4_init()) {
		LOG_INF("STCC4 sensor initialized");
		ptr_temp_hum_read = NULL;
		ptr_co2_read = NULL;
		ptr_temp_hum_co2_read = &stcc4_read_all;
		return 0;
	}
	// Try to initialize the SHT4X sensor
	if(!sht4x_init()) {
		LOG_INF("SHT4X sensor initialized");
		ptr_temp_hum_read = &sht4x_read;
		return 0;
	}

	// Try to initialize the AHT20 sensor
	if(!aht20_init()) {
		LOG_INF("AHT20 sensor initialized");
		ptr_temp_hum_read = &aht20_read;
		return 0;
	}
	// Try to initialize the SHT20 sensor
	if(!sht20_init()) {
		LOG_INF("SHT20 sensor initialized");
		ptr_temp_hum_read = &sht20_read;
		return 0;
	}
	// Try to initialize the SHT31 sensor
	if(!sht31_init()) {
		LOG_INF("SHT31 sensor initialized");
		ptr_temp_hum_read = &sht31_read;
		return 0;
	}

	// No sensor found
	LOG_WRN("No temperature and humidity sensor found");
	ptr_temp_hum_read = NULL;
	ptr_co2_read = NULL;
	ptr_temp_hum_co2_read = NULL;
	return 1;
}

/**
 * @brief Main function
 */
int main(void) {
	LOG_INF("Starting application");

	initial_timestamp = k_uptime_get();

	// Initialize the LED driver
	INIT_OR_REBOOT(led_init(), "LED");

	// Blink at 4 blinks per second while initializing remaining drivers
	INIT_OR_REBOOT(led_blink_start(), "LED blink");

	// Initialize the button driver
	INIT_OR_REBOOT(button_init(), "button");
	// Initialize the ADC driver
	INIT_OR_REBOOT(adc_init(), "ADC");
	// Initialize the AHT20 driver
	INIT_OR_REBOOT(init_temp_hum_sensor(), "temperature and humidity sensor");
	// Load and seed persisted app settings (sleep time, name, MAC)
	INIT_OR_REBOOT(app_settings_init(&sleep_time), "app settings");
	// Initialize the BLE driver
	INIT_OR_REBOOT(ble_init(&sleep_time), "BLE");

	INIT_OR_REBOOT(led_blink_stop(), "LED blink");
	LOG_IF_ERR(led1_on(), "Unable to turn on LED after initialization");
	k_sleep(K_SECONDS(1));
	LOG_IF_ERR(led1_off(), "Unable to turn off LED after initialization");

	LOG_INF("All drivers initialized");

	while(true) {
		LOG_INF("Starting a new loop");
		check_and_reboot_if_week_elapsed();

		// Read the sensors data
		read();

		if(first_run) {
			// Re read the sensors data to avoid sending wrong data (the first read is often wrong)
			LOG_INF("First run, re reading sensors data");
			read();
			first_run = false;
		}

		// Send the sensors data
		send();

		uint16_t downlink_sleep_time = 0U;
		if (ble_take_pending_sleep_update(&downlink_sleep_time)) {
			sleep_time = downlink_sleep_time;
			LOG_INF("Applied downlink sleep update: %u seconds", sleep_time);
		}

		LOG_IF_ERR(app_settings_persist_sleep_time_if_changed(), "Unable to persist sleep time");

		LOG_INF("Sleeping for %u seconds", sleep_time);
		int sem_result = k_sem_take(button_get_pressed_sem(), K_SECONDS(sleep_time));
		if (sem_result == 0) {
			LOG_INF("Button pressed, waking up");
			blink_led_for_seconds(CONFIG_BLE_ADV_DURATION_SEC);
		}
	}

	return 0;
}
```

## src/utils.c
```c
/**
 * utils.c
 * 
 * Utility functions
 * 
 * Author: Nils Lahaye (2024)
 * 
*/
#include "utils.h"

float mapRange(float value, float inMin, float inMax, float outMin, float outMax) {
    return fmaxf(fminf((value - inMin) * (outMax - outMin) / (inMax - inMin) + outMin, outMax), outMin);
}

float evaluate_polynomial(float x, const int coefficients[3]) {
    // y = ax^2 + bx + c
    return coefficients[0] * x * x + coefficients[1] * x + coefficients[2];
}

int floatSeparator(float *val, uint8_t* whole, uint8_t* decimal) {
	*whole = (int)*val;
	*decimal = (int)((*val - *whole) * 100);

    if (*decimal < 0) *decimal *= -1;  // Make the decimal part positive

    return 0;
}
```
